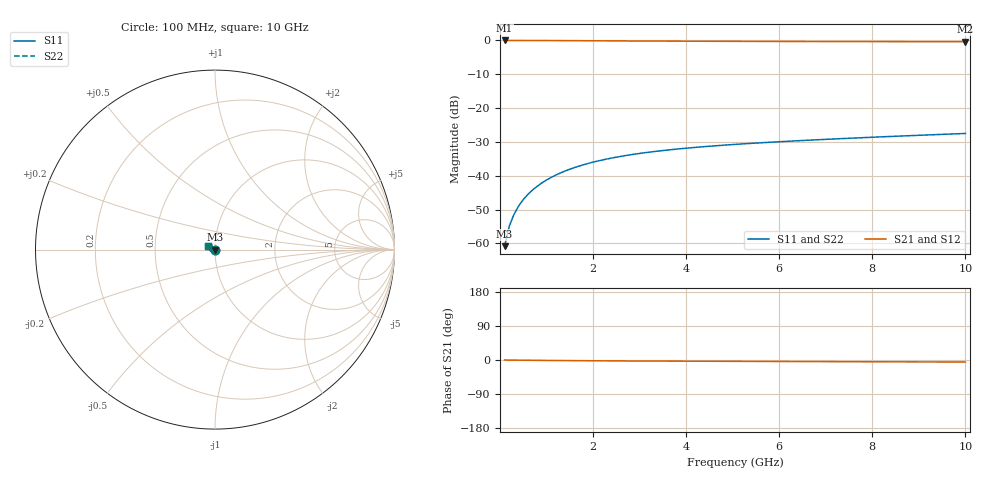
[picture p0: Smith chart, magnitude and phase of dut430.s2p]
! Touchstone file exported from HFSS 2024.1.0
!  File:  C:/UserFiles/LocalFiles/RDL_TSV_Batchsim/temp_TSV1_430_1779694093.aedt
!  Generated:  03:35:48 PM May 25, 2026
!  Design:  TSV1
!  Project:  temp_TSV1_430_1779694093
!  Setup:  Setup1
!  Solution:  Sweep
! Variables:
!  dtsv = 8.06um
!  hbump = 3um
!  htsv = 80.08um
!  lrdl = 252.1521522um
!  p = 40
!  p1 = 56.25um
!  t = 500um
!  trdl = 3um
!  wrdl = 24.89489489um
# GHz S MA R 50.000000
! Terminal data exported
! Port[1] = TSV22_T1
! Port[2] = TSV22_T2
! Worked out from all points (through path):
!   100 points, 100 MHz to 10 GHz, reference 50 ohm
!   highest |S21| = 0.00 dB at 100 MHz (marker M1); lowest = -0.4 dB at 10 GHz (marker M2)
!   lowest |S11| = -60.8 dB at 100 MHz (marker M3), VSWR 1.00, Z = 50 - j0.0892 ohm
!   |S11| at or under -10 dB: start of sweep to end of sweep
!   |S22| runs from -60.8 to -27.5 dB; largest |S21 - S12| = 2e-15
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0.1  0.0009117 -78.1  0.9997 -0.1  0.9997 -0.1  0.0009117 -78.1
! Gamma 0 0 0 0
! Port Impedance 50 0 50 0
0.2  0.001793 -87.1  0.9996 -0.2  0.9996 -0.2  0.001793 -87.1
0.3  0.00268 -91.6  0.9994 -0.4  0.9994 -0.4  0.00268 -91.6
0.4  0.003562 -95.0  0.9992 -0.5  0.9992 -0.5  0.003562 -95.0
0.5  0.004437 -97.9  0.9989 -0.6  0.9989 -0.6  0.004437 -97.9
0.6  0.005304 -100.5  0.9985 -0.7  0.9985 -0.7  0.005304 -100.5
0.7  0.00616 -103.0  0.9981 -0.8  0.9981 -0.8  0.00616 -103.0
0.8  0.007004 -105.3  0.9976 -0.9  0.9976 -0.9  0.007004 -105.3
0.9  0.007836 -107.6  0.9971 -1.0  0.9971 -1.0  0.007836 -107.6
1.1  0.009455 -112.0  0.9959 -1.2  0.9959 -1.2  0.009455 -112.0
1.4  0.01176 -118.3  0.9939 -1.5  0.9939 -1.5  0.01176 -118.3
1.6  0.01321 -122.2  0.9924 -1.7  0.9924 -1.7  0.01321 -122.2
1.8  0.01458 -126.1  0.9908 -1.8  0.9908 -1.8  0.01458 -126.1
2.1  0.01651 -131.5  0.9884 -2.1  0.9884 -2.1  0.01651 -131.5
2.5  0.01883 -138.3  0.9853 -2.3  0.9853 -2.3  0.01883 -138.3
2.9  0.0209 -144.6  0.9822 -2.6  0.9822 -2.6  0.0209 -144.6
3.4  0.02318 -151.8  0.9787 -2.8  0.9787 -2.8  0.02318 -151.8
4.2  0.02629 -162.0  0.974 -3.2  0.974 -3.2  0.02629 -162.0
5.1  0.02924 -171.7  0.9697 -3.6  0.9697 -3.6  0.02924 -171.7
6.7  0.03375 174.1  0.9644 -4.1  0.9644 -4.1  0.03375 174.1
8.4  0.03814 162.2  0.9607 -4.8  0.9607 -4.8  0.03814 162.2
10  0.0422 153.2  0.9583 -5.4  0.9583 -5.4  0.0422 153.2
